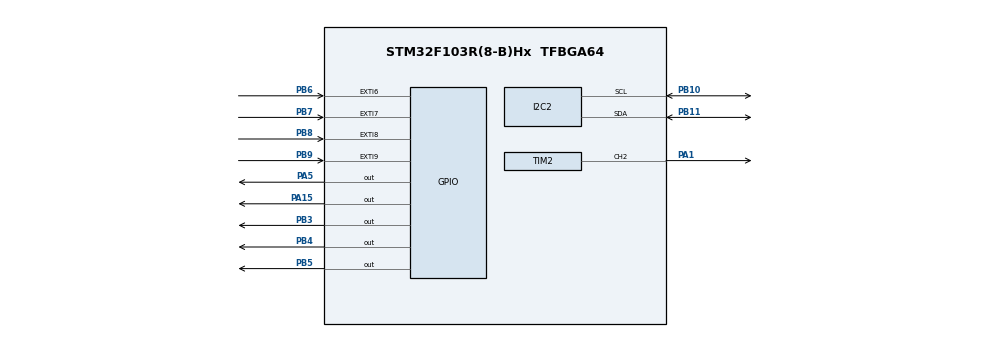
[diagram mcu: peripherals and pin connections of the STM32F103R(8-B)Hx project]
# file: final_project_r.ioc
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Mcu.Family=STM32F1
Mcu.Name=STM32F103R(8-B)Hx
Mcu.Package=TFBGA64
NVIC.EXTI9_5_IRQn=true\:0\:0\:false\:false\:true\:true\:true\:true
NVIC.PriorityGroup=NVIC_PRIORITYGROUP_4
PA1.Signal=S_TIM2_CH2
PA15.Signal=GPIO_Output
PA5.Signal=GPIO_Output
PB10.Mode=I2C
PB10.Signal=I2C2_SCL
PB11.Mode=I2C
PB11.Signal=I2C2_SDA
PB3.Signal=GPIO_Output
PB4.Signal=GPIO_Output
PB5.Signal=GPIO_Output
PB6.Signal=GPXTI6
PB7.Signal=GPXTI7
PB8.Signal=GPXTI8
PB9.Signal=GPXTI9
ProjectManager.HeapSize=0x200
ProjectManager.StackSize=0x400
ProjectManager.TargetToolchain=STM32CubeIDE
RCC.APB1Freq_Value=8000000
RCC.APB2Freq_Value=8000000
SH.S_TIM2_CH2.0=TIM2_CH2,PWM Generation2 CH2
TIM2.Channel-PWM\ Generation2\ CH2=TIM_CHANNEL_2
TIM2.Prescaler=15
VP_SYS_VS_ND.Mode=No_Debug
VP_TIM2_VS_ClockSourceINT.Mode=Internal
board=custom

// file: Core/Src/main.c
/* USER CODE BEGIN Header */
/**
  ******************************************************************************
  * @file           : main.c
  * @brief          : Main program body
  ******************************************************************************
  * @attention
  *
  * Copyright (c) 2024 STMicroelectronics.
  * All rights reserved.
  *
  * This software is licensed under terms that can be found in the LICENSE file
  * in the root directory of this software component.
  * If no LICENSE file comes with this software, it is provided AS-IS.
  *
  ******************************************************************************
  */
/* USER CODE END Header */
#include "main.h"
#include <stdlib.h>
/* USER CODE BEGIN Includes */
#include "liquidcrystal_i2c.h"
/* USER CODE END Includes */

/* USER CODE BEGIN PD */
#define INPUT_BUFFER_SIZE 4
/* USER CODE END PD */

I2C_HandleTypeDef hi2c2;

TIM_HandleTypeDef htim2;

/* USER CODE BEGIN PV */

char input_buffer[INPUT_BUFFER_SIZE];
int buffer_index = 0;

GPIO_InitTypeDef GPIO_InitStructPrivate = {0};
uint32_t previousMillis = 0;
uint32_t currentMillis = 0;
uint8_t keyPressed = 0;
/* USER CODE END PV */

void SystemClock_Config(void);
static void MX_GPIO_Init(void);
static void MX_TIM2_Init(void);
static void MX_I2C2_Init(void);
/* USER CODE BEGIN PFP */
int calculate_angle(char *input);
void move_servo(int angle);
void clear_input_buffer(void);
/* USER CODE END PFP */

int main(void)
{

  /* MCU Configuration--------------------------------------------------------*/

  /* Reset of all peripherals, Initializes the Flash interface and the Systick. */
  HAL_Init();

  /* Configure the system clock */
  SystemClock_Config();

  /* Initialize all configured peripherals */
  MX_GPIO_Init();
  MX_TIM2_Init();
  MX_I2C2_Init();
  /* USER CODE BEGIN 2 */
    HAL_GPIO_WritePin(GPIOA, GPIO_PIN_15, 1);
    HAL_GPIO_WritePin(GPIOB, GPIO_PIN_3, 1);
    HAL_GPIO_WritePin(GPIOB, GPIO_PIN_4, 1);
    HAL_GPIO_WritePin(GPIOB, GPIO_PIN_5, 1);
    HAL_TIM_PWM_Start(&htim2, TIM_CHANNEL_2);

     HD44780_Init(2);
     HD44780_Clear();
     HD44780_SetCursor(0,0);
     HD44780_PrintStr("HELLO");
     HD44780_SetCursor(10,1);
     HD44780_PrintStr("WORLD");
     HAL_Delay(2000);

     HD44780_Clear();
     HD44780_SetCursor(0,0);
     HD44780_PrintStr("HI Ds");
     HAL_Delay(2000);
     HD44780_NoBacklight();
     HAL_Delay(2000);
     HD44780_Backlight();

     HAL_Delay(2000);
     HD44780_Cursor();
     HAL_Delay(2000);
     HD44780_Blink();
     HAL_Delay(5000);
     HD44780_NoBlink();
     HAL_Delay(2000);
     HD44780_NoCursor();
     HAL_Delay(2000);

     HD44780_NoDisplay();
     HAL_Delay(2000);
     HD44780_Display();

     HD44780_Clear();
     HD44780_SetCursor(0,0);
     HD44780_PrintStr("Embedded s)");

  /* USER CODE END 2 */

  /* Infinite loop */
  while (1)
  {

    /* USER CODE BEGIN 3 */
	 HAL_TIM_PeriodElapsedCallback(&htim2);
  }
  /* USER CODE END 3 */
}

void SystemClock_Config(void)
{
  RCC_OscInitTypeDef RCC_OscInitStruct = {0};
  RCC_ClkInitTypeDef RCC_ClkInitStruct = {0};

  /** Initializes the RCC Oscillators according to the specified parameters
  * in the RCC_OscInitTypeDef structure.
  */
  RCC_OscInitStruct.OscillatorType = RCC_OSCILLATORTYPE_HSI;
  RCC_OscInitStruct.HSIState = RCC_HSI_ON;
  RCC_OscInitStruct.HSICalibrationValue = RCC_HSICALIBRATION_DEFAULT;
  RCC_OscInitStruct.PLL.PLLState = RCC_PLL_NONE;
  if (HAL_RCC_OscConfig(&RCC_OscInitStruct) != HAL_OK)
  {
    Error_Handler();
  }

  /** Initializes the CPU, AHB and APB buses clocks
  */
  RCC_ClkInitStruct.ClockType = RCC_CLOCKTYPE_HCLK|RCC_CLOCKTYPE_SYSCLK
                              |RCC_CLOCKTYPE_PCLK1|RCC_CLOCKTYPE_PCLK2;
  RCC_ClkInitStruct.SYSCLKSource = RCC_SYSCLKSOURCE_HSI;
  RCC_ClkInitStruct.AHBCLKDivider = RCC_SYSCLK_DIV1;
  RCC_ClkInitStruct.APB1CLKDivider = RCC_HCLK_DIV1;
  RCC_ClkInitStruct.APB2CLKDivider = RCC_HCLK_DIV1;

  if (HAL_RCC_ClockConfig(&RCC_ClkInitStruct, FLASH_LATENCY_0) != HAL_OK)
  {
    Error_Handler();
  }
}

static void MX_I2C2_Init(void)
{

  hi2c2.Instance = I2C2;
  hi2c2.Init.ClockSpeed = 100000;
  hi2c2.Init.DutyCycle = I2C_DUTYCYCLE_2;
  hi2c2.Init.OwnAddress1 = 0;
  hi2c2.Init.AddressingMode = I2C_ADDRESSINGMODE_7BIT;
  hi2c2.Init.DualAddressMode = I2C_DUALADDRESS_DISABLE;
  hi2c2.Init.OwnAddress2 = 0;
  hi2c2.Init.GeneralCallMode = I2C_GENERALCALL_DISABLE;
  hi2c2.Init.NoStretchMode = I2C_NOSTRETCH_DISABLE;
  if (HAL_I2C_Init(&hi2c2) != HAL_OK)
  {
    Error_Handler();
  }

}

static void MX_TIM2_Init(void)
{

  TIM_ClockConfigTypeDef sClockSourceConfig = {0};
  TIM_MasterConfigTypeDef sMasterConfig = {0};
  TIM_OC_InitTypeDef sConfigOC = {0};

  htim2.Instance = TIM2;
  htim2.Init.Prescaler = 15;
  htim2.Init.CounterMode = TIM_COUNTERMODE_UP;
  htim2.Init.Period = 9999;
  htim2.Init.ClockDivision = TIM_CLOCKDIVISION_DIV1;
  htim2.Init.AutoReloadPreload = TIM_AUTORELOAD_PRELOAD_DISABLE;
  if (HAL_TIM_Base_Init(&htim2) != HAL_OK)
  {
    Error_Handler();
  }
  sClockSourceConfig.ClockSource = TIM_CLOCKSOURCE_INTERNAL;
  if (HAL_TIM_ConfigClockSource(&htim2, &sClockSourceConfig) != HAL_OK)
  {
    Error_Handler();
  }
  if (HAL_TIM_PWM_Init(&htim2) != HAL_OK)
  {
    Error_Handler();
  }
  sMasterConfig.MasterOutputTrigger = TIM_TRGO_RESET;
  sMasterConfig.MasterSlaveMode = TIM_MASTERSLAVEMODE_DISABLE;
  if (HAL_TIMEx_MasterConfigSynchronization(&htim2, &sMasterConfig) != HAL_OK)
  {
    Error_Handler();
  }
  sConfigOC.OCMode = TIM_OCMODE_PWM1;
  sConfigOC.Pulse = 0;
  sConfigOC.OCPolarity = TIM_OCPOLARITY_HIGH;
  sConfigOC.OCFastMode = TIM_OCFAST_DISABLE;
  if (HAL_TIM_PWM_ConfigChannel(&htim2, &sConfigOC, TIM_CHANNEL_2) != HAL_OK)
  {
    Error_Handler();
  }
  HAL_TIM_MspPostInit(&htim2);

}

static void MX_GPIO_Init(void)
{
  GPIO_InitTypeDef GPIO_InitStruct = {0};

  /* GPIO Ports Clock Enable */
  __HAL_RCC_GPIOB_CLK_ENABLE();
  __HAL_RCC_GPIOA_CLK_ENABLE();

  /*Configure GPIO pin Output Level */
  HAL_GPIO_WritePin(GPIOB, GPIO_PIN_4|GPIO_PIN_3|GPIO_PIN_5, GPIO_PIN_RESET);

  /*Configure GPIO pin Output Level */
  HAL_GPIO_WritePin(GPIOA, GPIO_PIN_15|GPIO_PIN_5, GPIO_PIN_RESET);

  /*Configure GPIO pins : PB9 PB8 PB7 PB6 */
  GPIO_InitStruct.Pin = GPIO_PIN_9|GPIO_PIN_8|GPIO_PIN_7|GPIO_PIN_6;
  GPIO_InitStruct.Mode = GPIO_MODE_IT_RISING;
  GPIO_InitStruct.Pull = GPIO_NOPULL;
  HAL_GPIO_Init(GPIOB, &GPIO_InitStruct);

  /*Configure GPIO pins : PB4 PB3 PB5 */
  GPIO_InitStruct.Pin = GPIO_PIN_4|GPIO_PIN_3|GPIO_PIN_5;
  GPIO_InitStruct.Mode = GPIO_MODE_OUTPUT_PP;
  GPIO_InitStruct.Pull = GPIO_NOPULL;
  GPIO_InitStruct.Speed = GPIO_SPEED_FREQ_LOW;
  HAL_GPIO_Init(GPIOB, &GPIO_InitStruct);

  /*Configure GPIO pins : PA15 PA5 */
  GPIO_InitStruct.Pin = GPIO_PIN_15|GPIO_PIN_5;
  GPIO_InitStruct.Mode = GPIO_MODE_OUTPUT_PP;
  GPIO_InitStruct.Pull = GPIO_NOPULL;
  GPIO_InitStruct.Speed = GPIO_SPEED_FREQ_LOW;
  HAL_GPIO_Init(GPIOA, &GPIO_InitStruct);

  /* EXTI interrupt init*/
  HAL_NVIC_SetPriority(EXTI9_5_IRQn, 0, 0);
  HAL_NVIC_EnableIRQ(EXTI9_5_IRQn);

}

/* USER CODE BEGIN 4 */
int value;
void displayEachNumber(char *asciiValue){

	value = atoi(asciiValue); // Convert string to integer
	HD44780_Clear();
	HD44780_SetCursor(0,0);
	HD44780_PrintStr(value);
}

int angle;
int calculate_angle(char *input)
{

  HD44780_Clear();
  HD44780_SetCursor(0,0);
  HD44780_PrintStr(input);

  // Convert the three-digit input to an integer angle value (0-180)
  angle = atoi(input); // Convert string to integer
  // Constrain the angle between 0 and 180
  angle = angle < 0 ? 0 : (angle > 180 ? 180 : angle); // Ensure angle is within valid range
  return angle; // Return the calculated angle
}

int pulse_width;
void move_servo(int angle)
{
  // Convert the angle to the corresponding PWM pulse width
  // Adjust the calculation according to your servo specifications
    pulse_width = 250 + (angle * 999) / 180; // Modified calculation for pulse width
	//pulse_width =1249;
  // Update the PWM pulse width
  __HAL_TIM_SET_COMPARE(&htim2, TIM_CHANNEL_2, pulse_width); // Set PWM pulse width for servo
}

void clear_input_buffer(void)
{
  // Reset the input buffer and index
  for (int i = 0; i < INPUT_BUFFER_SIZE; i++)
  {
    input_buffer[i] = '\0'; // Set each element of the buffer to null character
  }
  buffer_index = 0; // Reset the buffer index to start receiving new input
}

void HAL_TIM_PeriodElapsedCallback(TIM_HandleTypeDef *htim2) {
    if (htim2->Instance == TIM2) {
        // Toggle the onboard LED on GPIO pin PA5
        HAL_GPIO_TogglePin(GPIOA, GPIO_PIN_5);
       HAL_Delay(3000);
    }
}

void HAL_GPIO_EXTI_Callback(uint16_t GPIO_Pin)
{
  currentMillis = HAL_GetTick();
  if (currentMillis - previousMillis > 10) {
    /*Configure GPIO pins : PB6 PB7 PB8 PB9 to GPIO_INPUT*/
    GPIO_InitStructPrivate.Pin = GPIO_PIN_6|GPIO_PIN_7|GPIO_PIN_8|GPIO_PIN_9;
    GPIO_InitStructPrivate.Mode = GPIO_MODE_INPUT;
    GPIO_InitStructPrivate.Pull = GPIO_NOPULL;
    GPIO_InitStructPrivate.Speed = GPIO_SPEED_FREQ_LOW;
    HAL_GPIO_Init(GPIOB, &GPIO_InitStructPrivate);

    HAL_GPIO_WritePin(GPIOA, GPIO_PIN_15, 1);
    HAL_GPIO_WritePin(GPIOB, GPIO_PIN_3, 0);
    HAL_GPIO_WritePin(GPIOB, GPIO_PIN_4, 0);
    HAL_GPIO_WritePin(GPIOB, GPIO_PIN_5, 0);
    if(GPIO_Pin == GPIO_PIN_6 && HAL_GPIO_ReadPin(GPIOB, GPIO_PIN_6))
    {
      keyPressed = 68; //ASCII value of D
    }
    else if(GPIO_Pin == GPIO_PIN_7 && HAL_GPIO_ReadPin(GPIOB, GPIO_PIN_7))
    {
      keyPressed = 67; //ASCII value of C
    }
    else if(GPIO_Pin == GPIO_PIN_8 && HAL_GPIO_ReadPin(GPIOB, GPIO_PIN_8))
    {
      keyPressed = 66; //ASCII value of B
    }
    else if(GPIO_Pin == GPIO_PIN_9 && HAL_GPIO_ReadPin(GPIOB, GPIO_PIN_9))
    {
      keyPressed = 65; //ASCII value of A
    }

    HAL_GPIO_WritePin(GPIOA, GPIO_PIN_15, 0);
    HAL_GPIO_WritePin(GPIOB, GPIO_PIN_3, 1);
    HAL_GPIO_WritePin(GPIOB, GPIO_PIN_4, 0);
    HAL_GPIO_WritePin(GPIOB, GPIO_PIN_5, 0);
    if(GPIO_Pin == GPIO_PIN_6 && HAL_GPIO_ReadPin(GPIOB, GPIO_PIN_6))
    {
      keyPressed = 35; //ASCII value of #
    }
    else if(GPIO_Pin == GPIO_PIN_7 && HAL_GPIO_ReadPin(GPIOB, GPIO_PIN_7))
    {
      keyPressed = 57; //ASCII value of 9
      HD44780_Clear();
      HD44780_SetCursor(0,0);
      HD44780_PrintStr(keyPressed);
      //__HAL_TIM_SET_COMPARE(&htim2,TIM_CHANNEL_2, 1249);
    }
    else if(GPIO_Pin == GPIO_PIN_8 && HAL_GPIO_ReadPin(GPIOB, GPIO_PIN_8))
    {
      keyPressed = 54; //ASCII value of 6
      //__HAL_TIM_SET_COMPARE(&htim2,TIM_CHANNEL_2, 916);

//      HD44780_Clear();
//      HD44780_SetCursor(0,0);
//      HD44780_PrintStr("60");
     // HAL_Delay(1000);
    }
    else if(GPIO_Pin == GPIO_PIN_9 && HAL_GPIO_ReadPin(GPIOB, GPIO_PIN_9))
    {
      keyPressed = 51; //ASCII value of 3
//      __HAL_TIM_SET_COMPARE(&htim2,TIM_CHANNEL_2, 583);
//      HD44780_Clear();
//      HD44780_SetCursor(0,0);
//      HD44780_PrintStr("30");
    }

    HAL_GPIO_WritePin(GPIOA, GPIO_PIN_15, 0);
    HAL_GPIO_WritePin(GPIOB, GPIO_PIN_3, 0);
    HAL_GPIO_WritePin(GPIOB, GPIO_PIN_4, 1);
    HAL_GPIO_WritePin(GPIOB, GPIO_PIN_5, 0);
    if(GPIO_Pin == GPIO_PIN_6 && HAL_GPIO_ReadPin(GPIOB, GPIO_PIN_6))
    {
      keyPressed = 48; //ASCII value of 0
//      __HAL_TIM_SET_COMPARE(&htim2,TIM_CHANNEL_2, 250);
//      HD44780_Clear();
//      HD44780_SetCursor(0,0);
//      HD44780_PrintStr("0");
    }
    else if(GPIO_Pin == GPIO_PIN_7 && HAL_GPIO_ReadPin(GPIOB, GPIO_PIN_7))
    {
      keyPressed = 56; //ASCII value of 8
//      __HAL_TIM_SET_COMPARE(&htim2,TIM_CHANNEL_2, 1138);
     //jdam
    }
    else if(GPIO_Pin == GPIO_PIN_8 && HAL_GPIO_ReadPin(GPIOB, GPIO_PIN_8))
    {
      keyPressed = 53; //ASCII value of 5
//      __HAL_TIM_SET_COMPARE(&htim2,TIM_CHANNEL_2, 805);
//      HD44780_Clear();
//      HD44780_SetCursor(0,0);
//      HD44780_PrintStr("50");
    }
    else if(GPIO_Pin == GPIO_PIN_9 && HAL_GPIO_ReadPin(GPIOB, GPIO_PIN_9))
    {
      keyPressed = 50; //ASCII value of 2
      displayEachNumber(keyPressed);
//      __HAL_TIM_SET_COMPARE(&htim2,TIM_CHANNEL_2, 472);
//      HD44780_Clear();
//      HD44780_SetCursor(0,0);
//      HD44780_PrintStr("20");
    }

    HAL_GPIO_WritePin(GPIOA, GPIO_PIN_15, 0);
    HAL_GPIO_WritePin(GPIOB, GPIO_PIN_3, 0);
    HAL_GPIO_WritePin(GPIOB, GPIO_PIN_4, 0);
    HAL_GPIO_WritePin(GPIOB, GPIO_PIN_5, 1);
    if(GPIO_Pin == GPIO_PIN_6 && HAL_GPIO_ReadPin(GPIOB, GPIO_PIN_6))
    {
      keyPressed = 42; //ASCII value of *
//      HD44780_Clear();
//      HD44780_SetCursor(0,0);
//      HD44780_PrintStr("Not valid");
    }
    else if(GPIO_Pin == GPIO_PIN_7 && HAL_GPIO_ReadPin(GPIOB, GPIO_PIN_7))
    {
      keyPressed = 55; //ASCII value of 7
//      __HAL_TIM_SET_COMPARE(&htim2,TIM_CHANNEL_2, 1027);
//      HD44780_Clear();
//      HD44780_SetCursor(0,0);
//      HD44780_PrintStr("70");
    }
    else if(GPIO_Pin == GPIO_PIN_8 && HAL_GPIO_ReadPin(GPIOB, GPIO_PIN_8))
    {
      keyPressed = 52; //ASCII value of 4
//      __HAL_TIM_SET_COMPARE(&htim2,TIM_CHANNEL_2, 694);
//      HD44780_Clear();
//      HD44780_SetCursor(0,0);
//      HD44780_PrintStr("40");
    }
    else if(GPIO_Pin == GPIO_PIN_9 && HAL_GPIO_ReadPin(GPIOB, GPIO_PIN_9))
    {
      keyPressed = 49; //ASCII value of 1
//      __HAL_TIM_SET_COMPARE(&htim2,TIM_CHANNEL_2, 361);
//      HD44780_Clear();
//      HD44780_SetCursor(0,0);
//      HD44780_PrintStr("10");
    }

    HAL_GPIO_WritePin(GPIOA, GPIO_PIN_15, 1);
    HAL_GPIO_WritePin(GPIOB, GPIO_PIN_3, 1);
    HAL_GPIO_WritePin(GPIOB, GPIO_PIN_4, 1);
    HAL_GPIO_WritePin(GPIOB, GPIO_PIN_5, 1);
    /*Configure GPIO pins : PB6 PB7 PB8 PB9 back to EXTI*/
    GPIO_InitStructPrivate.Mode = GPIO_MODE_IT_RISING;
    GPIO_InitStructPrivate.Pull = GPIO_PULLDOWN;
    HAL_GPIO_Init(GPIOB, &GPIO_InitStructPrivate);
    previousMillis = currentMillis;

    if (buffer_index < INPUT_BUFFER_SIZE - 1) {

        input_buffer[buffer_index++] = keyPressed; // Store pressed key in the buffer

    }

  if (buffer_index == INPUT_BUFFER_SIZE - 1 && keyPressed == 35) { // '#' key pressed

	  input_buffer[buffer_index] = '\0'; // Null-terminate the string
//      HD44780_Clear();
//      HD44780_SetCursor(0,0);
     // HD44780_PrintStr(input_buffer);
      int angle = calculate_angle(input_buffer);
      move_servo(angle);
      clear_input_buffer();

    }
  }
}
/* USER CODE END 4 */

void Error_Handler(void)
{
  __disable_irq();
  while (1)
  {
  }
}
